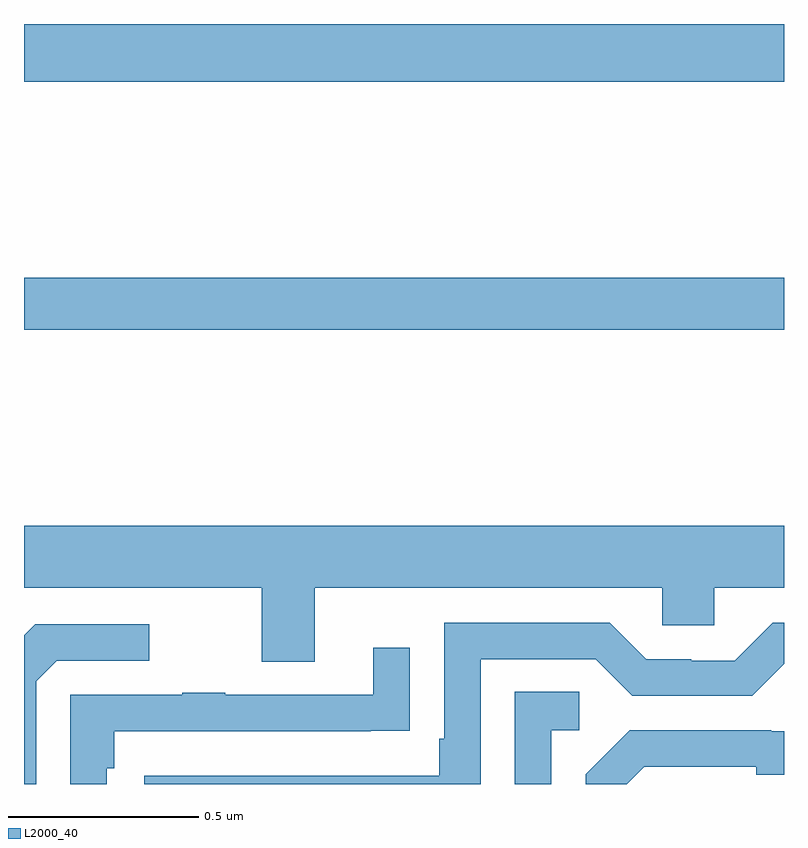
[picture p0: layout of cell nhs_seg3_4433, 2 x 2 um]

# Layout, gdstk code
import gdstk
lib = gdstk.Library(unit=1e-6, precision=1e-09)
def R(c, l, rs):  # rectangles x0, y0, x1, y1
    for r in rs: c.add(gdstk.rectangle(r[:2], r[2:], *l))
def P(c, l, *ps):  # polygons
    for p in ps: c.add(gdstk.Polygon(p, *l))
L2000_40 = (2000, 40)

nhs_seg3_4433 = lib.new_cell('nhs_seg3_4433')
R(nhs_seg3_4433, L2000_40, [(166,701.596,168,701.732), (166,702.248,168,702.4)])
P(nhs_seg3_4433, L2000_40, [(166.765,700.916),(167.679,700.916),(167.679,700.818),(167.817,700.818),(167.817,700.916),(168,700.916),(168,701.08),(166,701.08),(166,700.916),(166.625,700.916),(166.625,700.722),(166.765,700.722)],
  [(167.202,700.728),(167.505,700.728),(167.601,700.632),(167.916,700.632),(168,700.716),(168,700.825),(167.971,700.825),(167.871,700.725),(167.756,700.725),(167.756,700.728),(167.637,700.728),(167.541,700.824),(167.106,700.824),(167.106,700.519),(167.093,700.519),(167.093,700.422),(166.317,700.422),(166.317,700.4),(167.202,700.4)],
  [(166.032,700.671),(166.086,700.725),(166.33,700.725),(166.33,700.821),(166.029,700.821),(166,700.792),(166,700.4),(166.032,700.4)],
  [(166.218,700.442),(166.238,700.442),(166.238,700.539),(166.913,700.539),(166.913,700.54),(167.015,700.54),(167.015,700.759),(166.919,700.759),(166.919,700.635),(166.529,700.635),(166.529,700.64),(166.417,700.64),(166.417,700.635),(166.122,700.635),(166.122,700.4),(166.218,700.4)],
  [(167.388,700.542),(167.461,700.542),(167.461,700.643),(167.292,700.643),(167.292,700.4),(167.388,700.4)],
  [(167.632,700.446),(167.927,700.446),(167.927,700.424),(168,700.424),(168,700.539),(167.966,700.539),(167.966,700.542),(167.594,700.542),(167.478,700.426),(167.478,700.4),(167.586,700.4)])

lib.write_gds('nhs_seg3_4433.gds')
